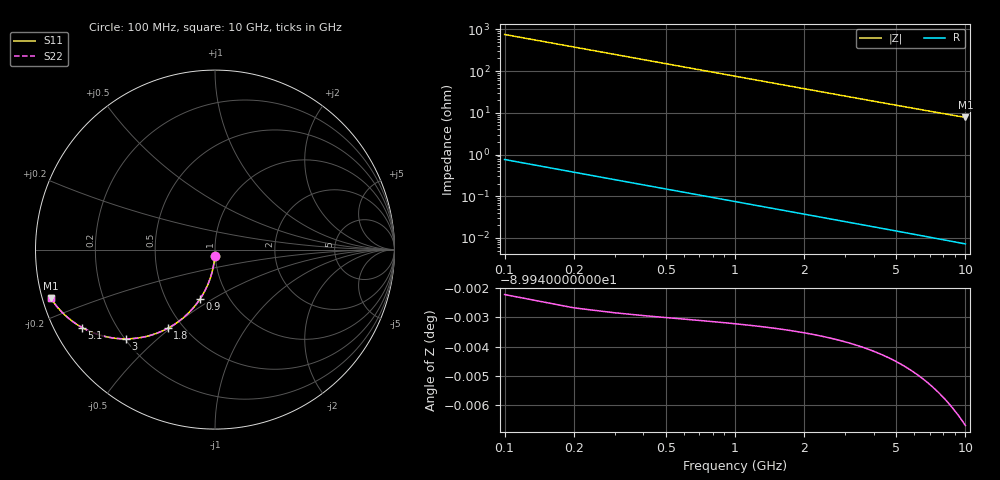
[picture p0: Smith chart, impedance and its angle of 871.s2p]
# Hz S RI R 50.00
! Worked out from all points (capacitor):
!   100 points, 100 MHz to 10 GHz, reference 50 ohm
!   read as one part in shunt: C = 2.12 pF near 100 MHz
!   lowest |Z| = 7.74 ohm at 10 GHz (marker M1)
!   S11 on the Smith chart (normalised r, x): 100 MHz: 1.00, -0.07; 900 MHz: 0.74, -0.44; 1.8 GHz: 0.41, -0.49; 3 GHz: 0.20, -0.40; 5.1 GHz: 0.08, -0.27; 10 GHz: 0.02, -0.14
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1e8  -0.00112 -0.0331  0.9988 -0.0333  0.9988 -0.0333  -0.00112 -0.0331
2e8  -0.00445 -0.066  0.9955 -0.0663  0.9955 -0.0663  -0.00445 -0.066
3e8  -0.00992 -0.0985  0.99 -0.0989  0.99 -0.0989  -0.00992 -0.0985
4e8  -0.0175 -0.1303  0.9825 -0.1309  0.9825 -0.1309  -0.0175 -0.1303
5e8  -0.027 -0.1613  0.973 -0.162  0.973 -0.162  -0.027 -0.1613
6e8  -0.0384 -0.1913  0.9616 -0.1921  0.9616 -0.1921  -0.0384 -0.1913
7e8  -0.0515 -0.2201  0.9485 -0.2211  0.9485 -0.2211  -0.0515 -0.2201
9e8  -0.0823 -0.2737  0.9177 -0.275  0.9177 -0.275  -0.0823 -0.2737
1.1e9  -0.118 -0.3214  0.8819 -0.3229  0.8819 -0.3229  -0.118 -0.3214
1.3e9  -0.1574 -0.3627  0.8426 -0.3646  0.8426 -0.3646  -0.1574 -0.3627
1.5e9  -0.199 -0.3977  0.801 -0.3998  0.801 -0.3998  -0.199 -0.3977
1.8e9  -0.2633 -0.4386  0.7367 -0.4412  0.7367 -0.4412  -0.2633 -0.4386
2.1e9  -0.3271 -0.4671  0.6729 -0.4702  0.6729 -0.4702  -0.3271 -0.4671
2.4e9  -0.3881 -0.4851  0.6118 -0.4886  0.6118 -0.4886  -0.3881 -0.4851
3e9  -0.4974 -0.4973  0.5026 -0.5017  0.5026 -0.5017  -0.4974 -0.4973
3.4e9  -0.5594 -0.4935  0.4405 -0.4984  0.4405 -0.4984  -0.5594 -0.4935
4.2e9  -0.6592 -0.4704  0.3408 -0.4765  0.3408 -0.4765  -0.6592 -0.4704
5.1e9  -0.7401 -0.4344  0.2599 -0.4418  0.2599 -0.4418  -0.7401 -0.4344
5.9e9  -0.7919 -0.4011  0.208 -0.4097  0.208 -0.4097  -0.7919 -0.4011
6.7e9  -0.8306 -0.3696  0.1693 -0.3795  0.1693 -0.3795  -0.8306 -0.3696
8.4e9  -0.8851 -0.3121  0.1148 -0.3246  0.1148 -0.3246  -0.8851 -0.3121
1e10  -0.9161 -0.2691  0.0837 -0.284  0.0837 -0.284  -0.9161 -0.2691
